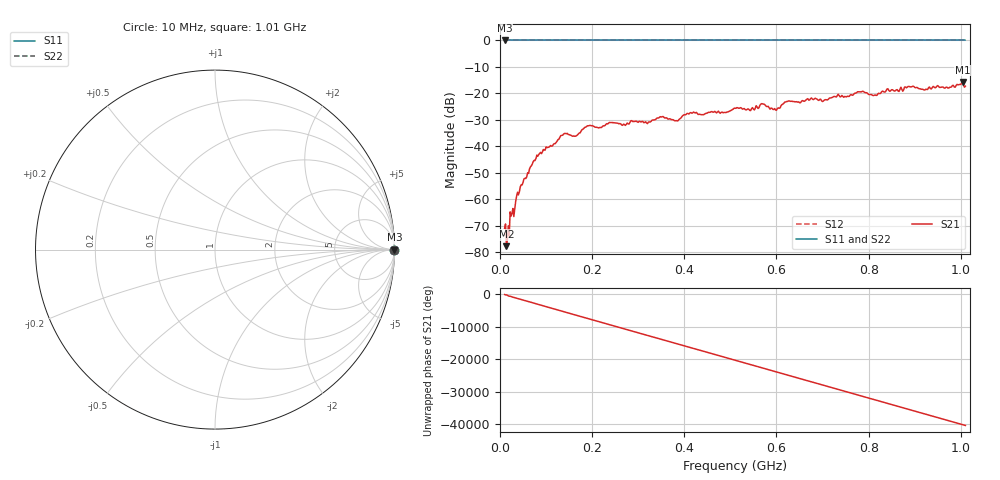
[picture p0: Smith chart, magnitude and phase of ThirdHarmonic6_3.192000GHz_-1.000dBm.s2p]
! 8/17/2025 9:40:13 AM
! C:\ANRITSUVNA\TEMP\TEMP.S2P
! CHANNEL.1
! TR.MEASUREMENT
! RAW.DATA
! RF.CORRECTION.OFF
! AVERAGING.OFF
! IF.BANDWIDTH: 5KHZ
! SWEEPTYPE:  FREQ.SWEEP(Linear)
! Reference Plane Port Info
! PORT:  PORT1  PORT2
! DISTANCE:  0  m  0  m
! TIME:  0  s  0  s
! PHASE.OFFSET:  0  deg.  0  deg.
! LOSS:  0  dB  0  dB
! REF.LOSS:  0  dB  0  dB
! REF.FREQ:  0  Hz  0  Hz
! Power Info
! POWER:  -20  dBm  -20  dBm
! EFF.POWER:  -20  dBm  -20  dBm
! SOURCE.ATTEN:  0  dB  0  dB
! TEST.ATTEN:  0  dB  0  dB
# GHZ S RI R 50.0
! FREQ.GHZ  S11RE  S11IM  S21RE  S21IM  S12RE  S12IM  S22RE  S22IM
!; PortSelection: Port_12
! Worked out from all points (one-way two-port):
!   501 points, 10 MHz to 1.01 GHz, reference 50 ohm
!   highest |S21| = -15.67 dB at 1.004 GHz (marker M1); lowest = -77.6 dB at 14 MHz (marker M2)
!   lowest |S11| = 0.0 dB at 10 MHz (marker M3)
!   |S11| at or under -10 dB: nowhere
!   |S22| runs from 0.0 to 0.0 dB; largest |S21 - S12| = 1.1
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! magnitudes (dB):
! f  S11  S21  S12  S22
! 10 MHz  0.0  -70.9  0.0  0.0
! 14 MHz  0.0  -77.6  0.0  0.0
! 18 MHz  0.0  -70.0  0.0  0.0
! 26 MHz  0.0  -65.3  0.0  0.0
! 40 MHz  0.0  -58.3  0.0  0.0
! 76 MHz  0.0  -45.3  0.0  0.0
! 136 MHz  0.0  -35.8  0.0  0.0
! 162 MHz  0.0  -36.2  0.0  0.0
! 178 MHz  0.0  -33.7  0.0  0.0
! 344 MHz  0.0  -29.3  0.0  0.0
! 382 MHz  0.0  -30.3  0.0  0.0
! 410 MHz  0.0  -27.8  0.0  0.0
! 510 MHz  0.0  -25.6  0.0  0.0
! 570 MHz  0.0  -23.9  0.0  0.0
! 596 MHz  0.0  -25.7  0.0  0.0
! 622 MHz  0.0  -23.1  0.0  0.0
! 678 MHz  0.0  -22.1  0.0  0.0
! 784 MHz  0.0  -19.4  0.0  0.0
! 814 MHz  0.0  -20.6  0.0  0.0
! 844 MHz  0.0  -18.9  0.0  0.0
! 1.004 GHz  0.0  -15.7  0.0  0.0
! 1.01 GHz  0.0  -17.3  0.0  0.0
